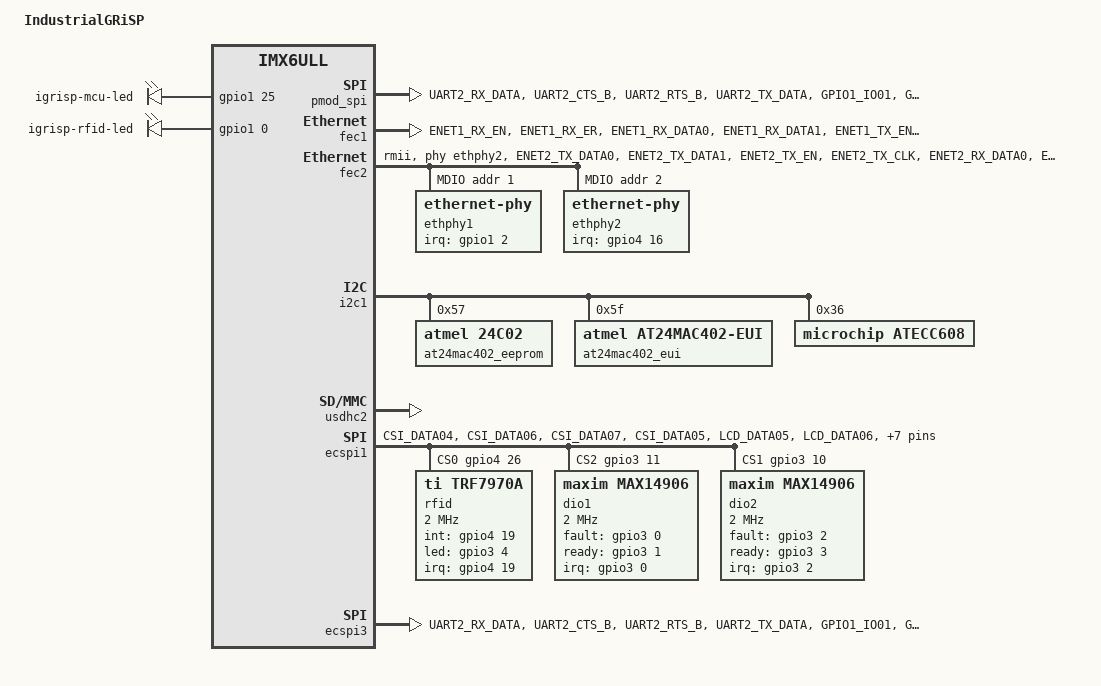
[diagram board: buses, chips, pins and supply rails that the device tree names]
// SPDX-License-Identifier: (GPL-2.0+ OR BSD-2-Clause)
/*
 * Copyright (C) 2020 embedded brains GmbH.
 */

/dts-v1/;
#include "custom-imx6ul.dtsi"
#include "imx6ul-phytec-phycore-som.dtsi"

/ {
	model = "IndustrialGRiSP";
	compatible = "embeddedbrains,industrialgrisp", "phytec,imx6ul-pcl063-emmc", "fsl,imx6ull";

	gpio_leds_grisp2: leds {
		pinctrl-names = "default";
		pinctrl-0 = <&pinctrl_gpioleds_grisp2>;
		compatible = "gpio-leds";

		igrisp-mcu-led {
			gpios = <&gpio1 25 GPIO_ACTIVE_HIGH>;
		};
		igrisp-rfid-led {
			gpios = <&gpio1 0 GPIO_ACTIVE_HIGH>;
		};
	};

	pmod_spi: pmod-spi {
		pinctrl-names = "default", "gpio";
		pinctrl-0 = <&pinctrl_spi3>;
		pinctrl-1 = <&pinctrl_spi3_gpio>;
		status = "okay";

		/* SPI mode */
		grisp,spi-alias = "spi2"; /* use with spi_bus_register_imx */
		grisp,int-gpios = <&gpio1 3 GPIO_ACTIVE_HIGH>;

		/* GPIO mode */
		grisp,gpios =
			<&gpio1 20 GPIO_ACTIVE_HIGH>, /* X803.1 */
			<&gpio1 22 GPIO_ACTIVE_HIGH>, /* X803.2 */
			<&gpio1 23 GPIO_ACTIVE_HIGH>, /* X803.3 */
			<&gpio1 21 GPIO_ACTIVE_HIGH>, /* X803.4 */
			<&gpio1 3  GPIO_ACTIVE_HIGH>, /* X803.7 */
			<&gpio5 0  GPIO_ACTIVE_HIGH>, /* X803.8 */
			<&gpio1 1  GPIO_ACTIVE_HIGH>, /* X803.9 */
			<&gpio1 18 GPIO_ACTIVE_HIGH>; /* X803.10 */
	};
};

&fec1 {
	status = "okay";
	pinctrl-0 = <&pinctrl_enet1_igrisp>;

	/delete-node/ mdio;
};

&fec2 {
	status = "okay";

	pinctrl-names = "default";
	pinctrl-0 = <&pinctrl_enet2>;
	phy-mode = "rmii";
	phy-handle = <&ethphy2>;

	mdio: mdio {
		#address-cells = <1>;
		#size-cells = <0>;

		ethphy1: ethernet-phy@1 {
			reg = <1>;
			interrupt-parent = <&gpio1>;
			interrupts = <2 IRQ_TYPE_LEVEL_LOW>;
			micrel,led-mode = <1>;
			clocks = <&clks IMX6UL_CLK_ENET_REF>;
			clock-names = "rmii-ref";
			status = "okay";
		};

		ethphy2: ethernet-phy@2 {
			reg = <2>;
			interrupt-parent = <&gpio4>;
			interrupts = <16 IRQ_TYPE_LEVEL_LOW>;
			micrel,led-mode = <1>;
			clocks = <&clks IMX6UL_CLK_ENET_REF>;
			clock-names = "rmii-ref";
			status = "okay";
		};
	};
};

&i2c1 {
	status = "okay";

	at24mac402_eeprom: eeprom@57 {
		compatible = "atmel,24c02";
		reg = <0x57>;
		status = "okay";
	};
	at24mac402_eui: eeprom@5f {
		compatible = "atmel,at24mac402-eui";
		reg = <0x5f>;
		status = "okay";
	};
	atecc608: cryptoauth@36 {
		compatible = "microchip,atecc608", "atmel,at24c16";
		reg = <0x36>;
		status = "okay";
	};
};

&usdhc2 {
	pinctrl-names = "default";
	status = "okay";
};

&ecspi1 {
	status = "okay";
	pinctrl-0 = <&pinctrl_spi1>;

	cs-gpios = <&gpio4 26 GPIO_ACTIVE_HIGH>,
		   <&gpio3 10 GPIO_ACTIVE_HIGH>,
		   <&gpio3 11 GPIO_ACTIVE_HIGH>;

	rfid: rfid@0 {
		compatible = "ti,trf7970a";
		reg = <0>;

		spi-max-frequency = <2000000>;
		interrupt-parent = <&gpio4>;
		interrupts = <19 IRQ_TYPE_LEVEL_LOW>;
		grisp,int-gpios = <&gpio4 19 GPIO_ACTIVE_HIGH>;
		grisp,led-gpios = <&gpio3 4 GPIO_ACTIVE_HIGH>;
	};

	dio1: dio@2 {
		compatible = "maxim,max14906";
		/* Really 2 for DIO1: The SS pins are numbered odd! */
		reg = <2>;

		spi-max-frequency = <2000000>;
		interrupt-parent = <&gpio3>;
		interrupts = <0 IRQ_TYPE_LEVEL_HIGH>;
		maxim,fault = <&gpio3 0 GPIO_ACTIVE_HIGH>;
		maxim,ready = <&gpio3 1 GPIO_ACTIVE_HIGH>;
	};

	dio2: dio@1 {
		compatible = "maxim,max14906";
		/* Really 1 for DIO2: The SS pins are numbered odd! */
		reg = <1>;

		spi-max-frequency = <2000000>;
		interrupt-parent = <&gpio3>;
		interrupts = <2 IRQ_TYPE_LEVEL_HIGH>;
		maxim,fault = <&gpio3 2 GPIO_ACTIVE_HIGH>;
		maxim,ready = <&gpio3 3 GPIO_ACTIVE_HIGH>;
	};
};

&ecspi3 {
	status = "okay";
	pinctrl-0 = <&pinctrl_spi3>;

	cs-gpios = <&gpio1 20 GPIO_ACTIVE_HIGH>;

	grisp,int-gpios = <&gpio1 3 GPIO_ACTIVE_HIGH>;
};

&iomuxc {
	pinctrl_spi1: spi1grp {
		fsl,pins = <
			MX6UL_PAD_CSI_DATA04__ECSPI1_SCLK	0x8	/* SPI_SCK */
			MX6UL_PAD_CSI_DATA06__ECSPI1_MOSI	0x8	/* SPI_MOSI */
			MX6UL_PAD_CSI_DATA07__ECSPI1_MISO	0x2000	/* SPI_MISO */

			MX6UL_PAD_CSI_DATA05__GPIO4_IO26	0x8	/* SPI_SS0 */
			MX6UL_PAD_LCD_DATA05__GPIO3_IO10	0x8	/* SPI_SS1 */
			MX6UL_PAD_LCD_DATA06__GPIO3_IO11	0x8	/* SPI_SS2/SPI_GPIO0 */
			MX6UL_PAD_LCD_RESET__GPIO3_IO04		0x8	/* SPI_GPIO1 */
			MX6UL_PAD_CSI_DATA03__GPIO4_IO24	0x8	/* SPI_RESET */
			MX6UL_PAD_CSI_VSYNC__GPIO4_IO19		0x8	/* SPI_INT */
			MX6UL_PAD_LCD_ENABLE__GPIO3_IO01	0x8	/* SPI_READY1 */
			MX6UL_PAD_LCD_CLK__GPIO3_IO00		0x8	/* SPI_FAULT1 */
			MX6UL_PAD_LCD_VSYNC__GPIO3_IO03		0x8	/* SPI_READY2 */
			MX6UL_PAD_LCD_HSYNC__GPIO3_IO02		0x8	/* SPI_FAULT2 */
		>;
	};

	pinctrl_spi3: spi3grp {
		fsl,pins = <
			MX6UL_PAD_UART2_RX_DATA__ECSPI3_SCLK	0x8	/* SPI3_SCK */
			MX6UL_PAD_UART2_CTS_B__ECSPI3_MOSI	0x8	/* SPI3_MOSI */
			MX6UL_PAD_UART2_RTS_B__ECSPI3_MISO	0x2000	/* SPI3_MISO */

			MX6UL_PAD_UART2_TX_DATA__GPIO1_IO20	0x8	/* SPI3_SS0 */
			MX6UL_PAD_GPIO1_IO01__GPIO1_IO01	0x8	/* SPI3_GPIO0 */
			MX6UL_PAD_GPIO1_IO03__GPIO1_IO03	0x8	/* SPI3_INT */
			MX6UL_PAD_SNVS_TAMPER0__GPIO5_IO00	0x8	/* SPI3_RESET */
			MX6UL_PAD_UART1_CTS_B__GPIO1_IO18	0x8	/* SPI3_GPIO1 */
		>;
	};

	pinctrl_spi3_gpio: spi3grp {
		fsl,pins = <
			MX6UL_PAD_UART2_RX_DATA__GPIO1_IO21	0x8	/* SPI3_SCK / X803.4 */
			MX6UL_PAD_UART2_CTS_B__GPIO1_IO22	0x8	/* SPI3_MOSI / X803.2 */
			MX6UL_PAD_UART2_RTS_B__GPIO1_IO23	0x8	/* SPI3_MISO / X803.3 */
			MX6UL_PAD_UART2_TX_DATA__GPIO1_IO20	0x8	/* SPI3_SS0 / X803.1 */
			MX6UL_PAD_GPIO1_IO01__GPIO1_IO01	0x8	/* SPI3_GPIO0 / X803.9 */
			MX6UL_PAD_GPIO1_IO03__GPIO1_IO03	0x8	/* SPI3_INT / X803.7 */
			MX6UL_PAD_SNVS_TAMPER0__GPIO5_IO00	0x8	/* SPI3_RESET / X803.8 */
			MX6UL_PAD_UART1_CTS_B__GPIO1_IO18	0x8	/* SPI3_GPIO1 / X803.10 */
		>;
	};

	pinctrl_version: versiongrp {
		fsl,pins = <
			MX6UL_PAD_SNVS_TAMPER1__GPIO5_IO01	0x8	/* */
			MX6UL_PAD_SNVS_TAMPER3__GPIO5_IO03	0x8	/* */
			MX6UL_PAD_SNVS_TAMPER5__GPIO5_IO05	0x8	/* */
			MX6UL_PAD_SNVS_TAMPER9__GPIO5_IO09	0x8	/* */
		>;
	};

	/delete-node/ pinctrl_enet1;

	pinctrl_enet1_igrisp: enet1grp {
		fsl,pins = <
			MX6UL_PAD_ENET1_RX_EN__ENET1_RX_EN	0x1b0b0
			MX6UL_PAD_ENET1_RX_ER__ENET1_RX_ER	0x1b0b0
			MX6UL_PAD_ENET1_RX_DATA0__ENET1_RDATA00	0x1b0b0
			MX6UL_PAD_ENET1_RX_DATA1__ENET1_RDATA01	0x1b0b0
			MX6UL_PAD_ENET1_TX_EN__ENET1_TX_EN	0x1b010
			MX6UL_PAD_ENET1_TX_DATA0__ENET1_TDATA00	0x1b010
			MX6UL_PAD_ENET1_TX_DATA1__ENET1_TDATA01	0x1b010
			MX6UL_PAD_ENET1_TX_CLK__ENET1_REF_CLK1	0x4001b010
			MX6UL_PAD_GPIO1_IO02__GPIO1_IO02	0x17059
		>;
	};

	pinctrl_enet2: enet2grp {
		fsl,pins = <
			MX6UL_PAD_ENET2_TX_DATA0__ENET2_TDATA00	0x1b010		/* ENET2_TX_D0 */
			MX6UL_PAD_ENET2_TX_DATA1__ENET2_TDATA01	0x1b010		/* ENET2_TX_D1 */
			MX6UL_PAD_ENET2_TX_EN__ENET2_TX_EN	0x1b010		/* ENET2_TX_EN */
			MX6UL_PAD_ENET2_TX_CLK__ENET2_REF_CLK2	0x4001b010	/* ENET2_TX_CLK */

			MX6UL_PAD_ENET2_RX_DATA0__ENET2_RDATA00	0x1b0b0		/* ENET2_RX_D0 */
			MX6UL_PAD_ENET2_RX_DATA1__ENET2_RDATA01	0x1b0b0		/* ENET2_RX_D1 */
			MX6UL_PAD_ENET2_RX_EN__ENET2_RX_EN	0x1b0b0		/* ENET2_RX_EN */
			MX6UL_PAD_ENET2_RX_ER__ENET2_RX_ER	0x1b0b0		/* ENET2_RX_ER */

			MX6UL_PAD_NAND_DQS__GPIO4_IO16		0x8		/* ENET2_INT */

			MX6UL_PAD_GPIO1_IO07__ENET2_MDC		0x10010
			MX6UL_PAD_GPIO1_IO06__ENET2_MDIO	0x10010
		>;
	};

	pinctrl_gpioleds_grisp2: gpioledsgrisp2grp {
		fsl,pins = <
			MX6UL_PAD_UART3_RX_DATA__GPIO1_IO25	0x00088		/* MCU_LED */
			MX6UL_PAD_GPIO1_IO00__GPIO1_IO00	0x00088		/* RFId_LED */
		>;
	};
};
